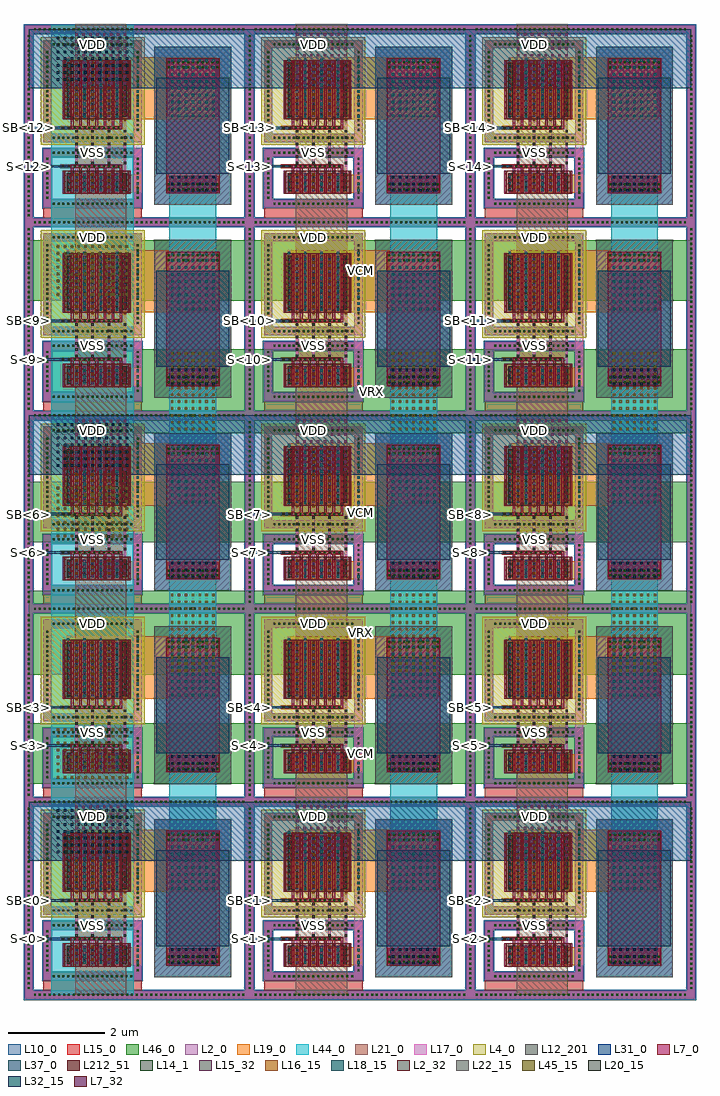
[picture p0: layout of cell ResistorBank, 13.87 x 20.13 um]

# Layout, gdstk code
import gdstk
lib = gdstk.Library(unit=1e-6, precision=1e-09)
def R(c, l, rs):  # rectangles x0, y0, x1, y1
    for r in rs: c.add(gdstk.rectangle(r[:2], r[2:], *l))
def A(c, l, x, y, w, h, nx, ny, dx, dy):  # array of equal rectangles
    R(c, l, [(x+i*dx, y+j*dy, x+i*dx+w, y+j*dy+h) for i in range(nx) for j in range(ny)])
L2_0 = (2, 0)
L2_32 = (2, 32)
L4_0 = (4, 0)
L7_0 = (7, 0)
L7_32 = (7, 32)
L10_0 = (10, 0)
L12_201 = (12, 201)
L14_1 = (14, 1)
L15_0 = (15, 0)
L15_32 = (15, 32)
L16_15 = (16, 15)
L17_0 = (17, 0)
L18_15 = (18, 15)
L19_0 = (19, 0)
L20_15 = (20, 15)
L21_0 = (21, 0)
L22_15 = (22, 15)
L31_0 = (31, 0)
L32_15 = (32, 15)
L37_0 = (37, 0)
L44_0 = (44, 0)
L45_15 = (45, 15)
L46_0 = (46, 0)
L212_51 = (212, 51)

nmosintransmissiongate = lib.new_cell('NMOSInTransmissionGate')
R(nmosintransmissiongate, L2_0, [(-0.616,-0.185,0.616,0.185)])
R(nmosintransmissiongate, L2_32, [(-0.616,-0.185,-0.531,0.185), (0.531,-0.185,0.616,0.185)])
A(nmosintransmissiongate, L7_0, -0.699, -0.242, 0.054, 0.484, 9, 1, 0.168, 0)
A(nmosintransmissiongate, L7_32, -0.531, -0.242, 0.054, 0.057, 7, 1, 0.168, 0)
A(nmosintransmissiongate, L14_1, -0.608, -0.12, 0.04, 0.04, 8, 3, 0.168, 0.1)
A(nmosintransmissiongate, L15_0, -0.613, -0.185, 0.05, 0.37, 8, 1, 0.168, 0)
A(nmosintransmissiongate, L15_32, -0.613, -0.185, 0.05, 0.37, 8, 1, 0.168, 0)
R(nmosintransmissiongate, L212_51, [(-0.672,-0.241,0.672,0.241)])

pmosintransmissiongate = lib.new_cell('PMOSInTransmissionGate')
R(pmosintransmissiongate, L2_0, [(-0.616,-0.555,0.616,0.555)])
R(pmosintransmissiongate, L2_32, [(-0.616,-0.555,-0.531,0.555), (0.531,-0.555,0.616,0.555)])
A(pmosintransmissiongate, L7_0, -0.699, -0.612, 0.054, 1.224, 9, 1, 0.168, 0)
A(pmosintransmissiongate, L7_32, -0.531, -0.612, 0.054, 0.057, 7, 1, 0.168, 0)
R(pmosintransmissiongate, L10_0, [(-0.672,-0.612,0.672,0.612)])
A(pmosintransmissiongate, L14_1, -0.608, -0.52, 0.04, 0.04, 8, 11, 0.168, 0.1)
A(pmosintransmissiongate, L15_0, -0.613, -0.555, 0.05, 1.11, 8, 1, 0.168, 0)
A(pmosintransmissiongate, L15_32, -0.613, -0.555, 0.05, 1.11, 8, 1, 0.168, 0)
R(pmosintransmissiongate, L212_51, [(-0.672,-0.611,0.672,0.611)])

viamet12met2onpmosoutput = lib.new_cell('ViaMet12Met2OnPMOSOutputInTransmissionGate')
R(viamet12met2onpmosoutput, L15_0, [(-0.025,-0.642,0.025,0.642)])
A(viamet12met2onpmosoutput, L16_15, -0.025, -0.61, 0.05, 0.05, 1, 10, 0, 0.13)
R(viamet12met2onpmosoutput, L17_0, [(-0.025,-0.642,0.025,0.642)])

viamet22met3onpmosoutput = lib.new_cell('ViaMet22Met3OnPMOSOutputInTransmissionGate')
R(viamet22met3onpmosoutput, L17_0, [(-0.025,-0.642,0.025,0.642)])
A(viamet22met3onpmosoutput, L18_15, -0.025, -0.61, 0.05, 0.05, 1, 10, 0, 0.13)
R(viamet22met3onpmosoutput, L19_0, [(-0.025,-0.642,0.025,0.642)])

viamet12met2onnmosoutput = lib.new_cell('ViaMet12Met2OnNMOSOutputInTransmissionGate')
R(viamet12met2onnmosoutput, L15_0, [(-0.025,-0.187,0.025,0.187)])
A(viamet12met2onnmosoutput, L16_15, -0.025, -0.155, 0.05, 0.05, 1, 3, 0, 0.13)
R(viamet12met2onnmosoutput, L17_0, [(-0.025,-0.187,0.025,0.187)])

viamet22met3onnmosoutput = lib.new_cell('ViaMet22Met3OnNMOSOutputInTransmissionGate')
R(viamet22met3onnmosoutput, L17_0, [(-0.025,-0.187,0.025,0.187)])
A(viamet22met3onnmosoutput, L18_15, -0.025, -0.155, 0.05, 0.05, 1, 3, 0, 0.13)
R(viamet22met3onnmosoutput, L19_0, [(-0.025,-0.187,0.025,0.187)])

viapoly2met1onpmoscontro = lib.new_cell('ViaPoly2Met1OnPMOSControlInTransmissionGate')
R(viapoly2met1onpmoscontro, L7_0, [(-0.48,-0.03,0.48,0.03)])
A(viapoly2met1onpmoscontro, L14_1, -0.47, -0.02, 0.04, 0.04, 10, 1, 0.1, 0)
R(viapoly2met1onpmoscontro, L15_0, [(-0.491,-0.041,0.491,0.041)])

viapoly2met1onnmoscontro = lib.new_cell('ViaPoly2Met1OnNMOSControlInTransmissionGate')
R(viapoly2met1onnmoscontro, L7_0, [(-0.48,-0.03,0.48,0.03)])
A(viapoly2met1onnmoscontro, L14_1, -0.47, -0.02, 0.04, 0.04, 10, 1, 0.1, 0)
R(viapoly2met1onnmoscontro, L15_0, [(-0.491,-0.041,0.491,0.041)])

transmissiongateinresist = lib.new_cell('TransmissionGateInResistorBank')
transmissiongateinresist.add(gdstk.FlexPath([(-0.504,0.444),(-0.504,0.804)], 0.054, ends="flush", simple_path=True, layer=7, datatype=0))  # L7_0
transmissiongateinresist.add(gdstk.FlexPath([(-0.336,0.444),(-0.336,0.804)], 0.054, ends="flush", simple_path=True, layer=7, datatype=0))  # L7_0
transmissiongateinresist.add(gdstk.FlexPath([(-0.168,0.444),(-0.168,0.804)], 0.054, ends="flush", simple_path=True, layer=7, datatype=0))  # L7_0
transmissiongateinresist.add(gdstk.FlexPath([(0,0.444),(0,0.804)], 0.054, ends="flush", simple_path=True, layer=7, datatype=0))  # L7_0
transmissiongateinresist.add(gdstk.FlexPath([(0.168,0.444),(0.168,0.804)], 0.054, ends="flush", simple_path=True, layer=7, datatype=0))  # L7_0
transmissiongateinresist.add(gdstk.FlexPath([(0.336,0.444),(0.336,0.804)], 0.054, ends="flush", simple_path=True, layer=7, datatype=0))  # L7_0
transmissiongateinresist.add(gdstk.FlexPath([(0.504,0.444),(0.504,0.804)], 0.054, ends="flush", simple_path=True, layer=7, datatype=0))  # L7_0
transmissiongateinresist.add(gdstk.FlexPath([(-0.504,2.352),(-0.504,1.537)], 0.054, ends="flush", simple_path=True, layer=7, datatype=0))  # L7_0
transmissiongateinresist.add(gdstk.FlexPath([(-0.336,2.352),(-0.336,1.537)], 0.054, ends="flush", simple_path=True, layer=7, datatype=0))  # L7_0
transmissiongateinresist.add(gdstk.FlexPath([(-0.168,2.352),(-0.168,1.537)], 0.054, ends="flush", simple_path=True, layer=7, datatype=0))  # L7_0
transmissiongateinresist.add(gdstk.FlexPath([(0,2.352),(0,1.537)], 0.054, ends="flush", simple_path=True, layer=7, datatype=0))  # L7_0
transmissiongateinresist.add(gdstk.FlexPath([(0.168,2.352),(0.168,1.537)], 0.054, ends="flush", simple_path=True, layer=7, datatype=0))  # L7_0
transmissiongateinresist.add(gdstk.FlexPath([(0.336,2.352),(0.336,1.537)], 0.054, ends="flush", simple_path=True, layer=7, datatype=0))  # L7_0
transmissiongateinresist.add(gdstk.FlexPath([(0.504,2.352),(0.504,1.537)], 0.054, ends="flush", simple_path=True, layer=7, datatype=0))  # L7_0
transmissiongateinresist.add(gdstk.FlexPath([(-0.504,0.774),(0.504,0.774)], 0.06, ends="flush", simple_path=True, layer=7, datatype=0))  # L7_0
transmissiongateinresist.add(gdstk.FlexPath([(-0.504,1.567),(0.504,1.567)], 0.06, ends="flush", simple_path=True, layer=7, datatype=0))  # L7_0
transmissiongateinresist.add(gdstk.Reference(nmosintransmissiongate, (0,0.444), x_reflection=True))
transmissiongateinresist.add(gdstk.Reference(pmosintransmissiongate, (0,2.352)))
transmissiongateinresist.add(gdstk.Reference(viamet12met2onpmosoutput, (-0.42,2.32)))
transmissiongateinresist.add(gdstk.Reference(viamet12met2onpmosoutput, (-0.084,2.32)))
transmissiongateinresist.add(gdstk.Reference(viamet12met2onpmosoutput, (0.252,2.32)))
transmissiongateinresist.add(gdstk.Reference(viamet12met2onpmosoutput, (0.588,2.32)))
transmissiongateinresist.add(gdstk.Reference(viamet12met2onpmosoutput, (-0.588,2.384)))
transmissiongateinresist.add(gdstk.Reference(viamet12met2onpmosoutput, (-0.252,2.384)))
transmissiongateinresist.add(gdstk.Reference(viamet12met2onpmosoutput, (0.084,2.384)))
transmissiongateinresist.add(gdstk.Reference(viamet12met2onpmosoutput, (0.42,2.384)))
transmissiongateinresist.add(gdstk.Reference(viamet22met3onpmosoutput, (-0.588,2.384)))
transmissiongateinresist.add(gdstk.Reference(viamet22met3onpmosoutput, (-0.252,2.384)))
transmissiongateinresist.add(gdstk.Reference(viamet22met3onpmosoutput, (0.084,2.384)))
transmissiongateinresist.add(gdstk.Reference(viamet22met3onpmosoutput, (0.42,2.384)))
transmissiongateinresist.add(gdstk.Reference(viamet12met2onnmosoutput, (-0.42,0.476)))
transmissiongateinresist.add(gdstk.Reference(viamet12met2onnmosoutput, (-0.084,0.476)))
transmissiongateinresist.add(gdstk.Reference(viamet12met2onnmosoutput, (0.252,0.476)))
transmissiongateinresist.add(gdstk.Reference(viamet12met2onnmosoutput, (0.588,0.476)))
transmissiongateinresist.add(gdstk.Reference(viamet12met2onnmosoutput, (-0.588,0.412)))
transmissiongateinresist.add(gdstk.Reference(viamet12met2onnmosoutput, (-0.252,0.412)))
transmissiongateinresist.add(gdstk.Reference(viamet12met2onnmosoutput, (0.084,0.412)))
transmissiongateinresist.add(gdstk.Reference(viamet12met2onnmosoutput, (0.42,0.412)))
transmissiongateinresist.add(gdstk.Reference(viamet22met3onnmosoutput, (-0.588,0.412)))
transmissiongateinresist.add(gdstk.Reference(viamet22met3onnmosoutput, (-0.252,0.412)))
transmissiongateinresist.add(gdstk.Reference(viamet22met3onnmosoutput, (0.084,0.412)))
transmissiongateinresist.add(gdstk.Reference(viamet22met3onnmosoutput, (0.42,0.412)))
transmissiongateinresist.add(gdstk.Reference(viapoly2met1onpmoscontro, (0,1.567)))
transmissiongateinresist.add(gdstk.Reference(viapoly2met1onnmoscontro, (0,0.774)))

viamet12met2oninputinres = lib.new_cell('ViaMet12Met2OnInputInResistorBank')
R(viamet12met2oninputinres, L15_0, [(-0.122,-0.025,0.122,0.025)])
R(viamet12met2oninputinres, L16_15, [(-0.09,-0.025,-0.04,0.025), (0.04,-0.025,0.09,0.025)])
R(viamet12met2oninputinres, L17_0, [(-0.122,-0.025,0.122,0.025)])

viamet22met3oninputinres = lib.new_cell('ViaMet22Met3OnInputInResistorBank')
R(viamet22met3oninputinres, L17_0, [(-0.122,-0.025,0.122,0.025)])
R(viamet22met3oninputinres, L18_15, [(-0.09,-0.025,-0.04,0.025), (0.04,-0.025,0.09,0.025)])
R(viamet22met3oninputinres, L19_0, [(-0.122,-0.025,0.122,0.025)])

viamet32met4oninputinres = lib.new_cell('ViaMet32Met4OnInputInResistorBank')
R(viamet32met4oninputinres, L19_0, [(-0.122,-0.025,0.122,0.025)])
R(viamet32met4oninputinres, L20_15, [(-0.09,-0.025,-0.04,0.025), (0.04,-0.025,0.09,0.025)])
R(viamet32met4oninputinres, L21_0, [(-0.122,-0.025,0.122,0.025)])

viamet42met5oninputinres = lib.new_cell('ViaMet42Met5OnInputInResistorBank')
R(viamet42met5oninputinres, L21_0, [(-0.122,-0.025,0.122,0.025)])
R(viamet42met5oninputinres, L22_15, [(-0.09,-0.025,-0.04,0.025), (0.04,-0.025,0.09,0.025)])
R(viamet42met5oninputinres, L31_0, [(-0.122,-0.025,0.122,0.025)])

opppcresinresistorbank = lib.new_cell('OpppcresInResistorBank')
R(opppcresinresistorbank, L7_0, [(-0.553,-1.388,0.553,1.388)])
R(opppcresinresistorbank, L10_0, [(-0.793,-1.628,0.793,1.628)])
R(opppcresinresistorbank, L12_201, [(-0.793,-1.628,0.793,1.628)])
A(opppcresinresistorbank, L14_1, -0.52, -1.328, 0.04, 0.04, 11, 2, 0.1, 0.1)
A(opppcresinresistorbank, L14_1, -0.52, 1.188, 0.04, 0.04, 11, 2, 0.1, 0.1)
R(opppcresinresistorbank, L15_0, [(-0.532,-1.34,0.532,-1.176), (-0.532,1.176,0.532,1.34)])
R(opppcresinresistorbank, L37_0, [(-0.753,-0.988,0.753,0.988)])

pmossubringinresistorban = lib.new_cell('PMOSSubringInResistorBank')
R(pmossubringinresistorban, L2_0, [(-1.017,-1.052,1.017,-0.882), (-1.017,-1.052,-0.847,1.052), (0.847,-1.052,1.017,1.052), (-1.017,0.882,1.017,1.052)])
A(pmossubringinresistorban, L14_1, -0.82, -0.987, 0.04, 0.04, 17, 2, 0.1, 1.934)
A(pmossubringinresistorban, L14_1, -0.952, -0.82, 0.04, 0.04, 1, 17, 0, 0.1)
A(pmossubringinresistorban, L14_1, 0.912, -0.82, 0.04, 0.04, 1, 17, 0, 0.1)
R(pmossubringinresistorban, L15_0, [(-1.017,-1.052,1.017,-0.882), (-1.017,-1.052,-0.847,1.052), (0.847,-1.052,1.017,1.052), (-1.017,0.882,1.017,1.052)])
pmossubringinresistorban.add(gdstk.FlexPath([(0.932,1.108),(0.932,-0.967),(-0.932,-0.967),(-0.932,0.967),(1.073,0.967)], 0.282, ends="flush", simple_path=True, layer=4, datatype=0))  # L4_0

nmossubringinresistorban = lib.new_cell('NMOSSubringInResistorBank')
R(nmossubringinresistorban, L2_0, [(-1.017,-0.611,1.017,-0.441), (-1.017,-0.611,-0.847,0.611), (0.847,-0.611,1.017,0.611), (-1.017,0.441,1.017,0.611)])
A(nmossubringinresistorban, L14_1, -0.82, -0.546, 0.04, 0.04, 17, 2, 0.1, 1.052)
A(nmossubringinresistorban, L14_1, -0.952, -0.42, 0.04, 0.04, 1, 9, 0, 0.1)
A(nmossubringinresistorban, L14_1, 0.912, -0.42, 0.04, 0.04, 1, 9, 0, 0.1)
R(nmossubringinresistorban, L15_0, [(-1.017,-0.611,1.017,-0.441), (-1.017,-0.611,-0.847,0.611), (0.847,-0.611,1.017,0.611), (-1.017,0.441,1.017,0.611)])
nmossubringinresistorban.add(gdstk.FlexPath([(0.932,0.632),(0.932,-0.526),(-0.932,-0.526),(-0.932,0.526),(1.038,0.526)], 0.212, ends="flush", simple_path=True, layer=10, datatype=0))  # L10_0

totalsubringinresistorba = lib.new_cell('TotalSubringInResistorBank')
R(totalsubringinresistorba, L2_0, [(-2.362,-2.077,2.362,-1.907), (-2.362,-2.077,-2.192,2.077), (2.192,-2.077,2.362,2.077), (-2.362,1.907,2.362,2.077)])
A(totalsubringinresistorba, L14_1, -2.17, -2.012, 0.04, 0.04, 44, 2, 0.1, 3.984)
A(totalsubringinresistorba, L14_1, -2.297, -1.87, 0.04, 0.04, 1, 38, 0, 0.1)
A(totalsubringinresistorba, L14_1, 2.257, -1.87, 0.04, 0.04, 1, 38, 0, 0.1)
R(totalsubringinresistorba, L15_0, [(-2.362,-2.077,2.362,-1.907), (-2.362,-2.077,-2.192,2.077), (2.192,-2.077,2.362,2.077), (-2.362,1.907,2.362,2.077)])
totalsubringinresistorba.add(gdstk.FlexPath([(2.277,2.098),(2.277,-1.992),(-2.277,-1.992),(-2.277,1.992),(2.383,1.992)], 0.212, ends="flush", simple_path=True, layer=10, datatype=0))  # L10_0

viamet12met2onresistorin = lib.new_cell('ViaMet12Met2OnResistorInResistorBank')
R(viamet12met2onresistorin, L15_0, [(-0.483,-0.593,0.483,0.593)])
A(viamet12met2onresistorin, L16_15, -0.451, -0.593, 0.05, 0.05, 7, 9, 0.142, 0.142)
R(viamet12met2onresistorin, L17_0, [(-0.483,-0.593,0.483,0.593)])

viamet12met2onresistor1i = lib.new_cell('ViaMet12Met2OnResistor1InResistorBank')
R(viamet12met2onresistor1i, L15_0, [(-0.483,-0.167,0.483,0.167)])
A(viamet12met2onresistor1i, L16_15, -0.451, -0.167, 0.05, 0.05, 7, 3, 0.142, 0.142)
R(viamet12met2onresistor1i, L17_0, [(-0.483,-0.167,0.483,0.167)])

viamet22met3onresistorin = lib.new_cell('ViaMet22Met3OnResistorInResistorBank')
R(viamet22met3onresistorin, L17_0, [(-0.483,-0.593,0.483,0.593)])
A(viamet22met3onresistorin, L18_15, -0.451, -0.593, 0.05, 0.05, 7, 9, 0.142, 0.142)
R(viamet22met3onresistorin, L19_0, [(-0.483,-0.593,0.483,0.593)])

viamet22met3onresistor1i = lib.new_cell('ViaMet22Met3OnResistor1InResistorBank')
R(viamet22met3onresistor1i, L17_0, [(-0.483,-0.167,0.483,0.167)])
A(viamet22met3onresistor1i, L18_15, -0.451, -0.167, 0.05, 0.05, 7, 3, 0.142, 0.142)
R(viamet22met3onresistor1i, L19_0, [(-0.483,-0.167,0.483,0.167)])

viamet32met4onresistorin = lib.new_cell('ViaMet32Met4OnResistorInResistorBank')
R(viamet32met4onresistorin, L19_0, [(-0.483,-0.167,0.483,0.167)])
A(viamet32met4onresistorin, L20_15, -0.451, -0.167, 0.05, 0.05, 7, 3, 0.142, 0.142)
R(viamet32met4onresistorin, L21_0, [(-0.483,-0.167,0.483,0.167)])

viamet42met5onresistorin = lib.new_cell('ViaMet42Met5OnResistorInResistorBank')
R(viamet42met5onresistorin, L21_0, [(-0.483,-0.167,0.483,0.167)])
A(viamet42met5onresistorin, L22_15, -0.451, -0.167, 0.05, 0.05, 7, 3, 0.142, 0.142)
R(viamet42met5onresistorin, L31_0, [(-0.483,-0.167,0.483,0.167)])

viamet52met6onresistorin = lib.new_cell('ViaMet52Met6OnResistorInResistorBank')
R(viamet52met6onresistorin, L31_0, [(-0.483,-0.167,0.483,0.167)])
A(viamet52met6onresistorin, L32_15, -0.451, -0.167, 0.05, 0.05, 7, 3, 0.142, 0.142)
R(viamet52met6onresistorin, L44_0, [(-0.483,-0.167,0.483,0.167)])

viavcmmet22met3inresisto = lib.new_cell('ViaVCMMet22Met3InResistorBank')
R(viavcmmet22met3inresisto, L17_0, [(-0.025,-0.382,0.025,0.382)])
A(viavcmmet22met3inresisto, L18_15, -0.025, -0.35, 0.05, 0.05, 1, 6, 0, 0.13)
R(viavcmmet22met3inresisto, L19_0, [(-0.025,-0.382,0.025,0.382)])

viavcmmet32met4inresisto = lib.new_cell('ViaVCMMet32Met4InResistorBank')
R(viavcmmet32met4inresisto, L19_0, [(-0.025,-0.382,0.025,0.382)])
A(viavcmmet32met4inresisto, L20_15, -0.025, -0.35, 0.05, 0.05, 1, 6, 0, 0.13)
R(viavcmmet32met4inresisto, L21_0, [(-0.025,-0.382,0.025,0.382)])

viatgpmos2resmet22met3in = lib.new_cell('ViaTGPMOS2ResMet22Met3InResistorBank')
R(viatgpmos2resmet22met3in, L17_0, [(-0.057,-0.61,0.057,0.61)])
A(viatgpmos2resmet22met3in, L18_15, -0.025, -0.61, 0.05, 0.05, 1, 10, 0, 0.13)
R(viatgpmos2resmet22met3in, L19_0, [(-0.057,-0.61,0.057,0.61)])

viatgnmos2resmet22met3in = lib.new_cell('ViaTGNMOS2ResMet22Met3InResistorBank')
R(viatgnmos2resmet22met3in, L17_0, [(-0.057,-0.155,0.057,0.155)])
A(viatgnmos2resmet22met3in, L18_15, -0.025, -0.155, 0.05, 0.05, 1, 3, 0, 0.13)
R(viatgnmos2resmet22met3in, L19_0, [(-0.057,-0.155,0.057,0.155)])

resistorbankinfullresist = lib.new_cell('ResistorBankInFullResistorBank')
R(resistorbankinfullresist, L15_0, [(-1.103,-0.467,0.931,0.085)])
A(resistorbankinfullresist, L17_0, -0.445, 0.289, 0.05, 2.674, 4, 1, 0.336, 0)
R(resistorbankinfullresist, L21_0, [(-0.42,0.788,0.588,1.552)])
resistorbankinfullresist.add(gdstk.FlexPath([(-0.633,1.567),(-1.4,1.567)], 0.05, ends="flush", simple_path=True, layer=31, datatype=0))  # L31_0
resistorbankinfullresist.add(gdstk.FlexPath([(-0.633,0.774),(-1.4,0.774)], 0.05, ends="flush", simple_path=True, layer=31, datatype=0))  # L31_0
resistorbankinfullresist.add(gdstk.FlexPath([(-0.933,2.325),(0.761,2.325)], 1.764, ends="flush", simple_path=True, layer=4, datatype=0))  # L4_0
resistorbankinfullresist.add(gdstk.FlexPath([(-0.755,1.567),(0,1.567)], 0.082, ends="flush", simple_path=True, layer=15, datatype=0))  # L15_0
resistorbankinfullresist.add(gdstk.FlexPath([(-0.755,0.774),(0,0.774)], 0.082, ends="flush", simple_path=True, layer=15, datatype=0))  # L15_0
resistorbankinfullresist.add(gdstk.FlexPath([(1.984,1.791),(1.984,2.977)], 1.064, ends="flush", simple_path=True, layer=15, datatype=0))  # L15_0
resistorbankinfullresist.add(gdstk.FlexPath([(1.984,0.579),(1.984,0.245)], 1.064, ends="flush", simple_path=True, layer=15, datatype=0))  # L15_0
resistorbankinfullresist.add(gdstk.FlexPath([(-0.588,2.384),(2.467,2.384)], 1.284, ends="flush", simple_path=True, layer=19, datatype=0))  # L19_0
resistorbankinfullresist.add(gdstk.FlexPath([(-0.588,0.412),(0.931,0.412)], 0.374, ends="flush", simple_path=True, layer=19, datatype=0))  # L19_0
resistorbankinfullresist.add(gdstk.FlexPath([(0.846,3.026),(0.846,0.225)], 0.17, ends="flush", simple_path=True, layer=17, datatype=0))  # L17_0
resistorbankinfullresist.add(gdstk.Reference(transmissiongateinresist, (0,0)))
resistorbankinfullresist.add(gdstk.Reference(viamet12met2oninputinres, (-0.633,1.567)))
resistorbankinfullresist.add(gdstk.Reference(viamet12met2oninputinres, (-0.633,0.774)))
resistorbankinfullresist.add(gdstk.Reference(viamet22met3oninputinres, (-0.633,1.567)))
resistorbankinfullresist.add(gdstk.Reference(viamet22met3oninputinres, (-0.633,0.774)))
resistorbankinfullresist.add(gdstk.Reference(viamet32met4oninputinres, (-0.633,1.567)))
resistorbankinfullresist.add(gdstk.Reference(viamet32met4oninputinres, (-0.633,0.774)))
resistorbankinfullresist.add(gdstk.Reference(viamet42met5oninputinres, (-0.633,1.567)))
resistorbankinfullresist.add(gdstk.Reference(viamet42met5oninputinres, (-0.633,0.774)))
resistorbankinfullresist.add(gdstk.Reference(opppcresinresistorbank, (1.984,1.61)))
resistorbankinfullresist.add(gdstk.Reference(pmossubringinresistorban, (-0.086,2.325)))
resistorbankinfullresist.add(gdstk.Reference(nmossubringinresistorban, (-0.086,0.526)))
resistorbankinfullresist.add(gdstk.Reference(totalsubringinresistorba, (0.877,1.61)))
resistorbankinfullresist.add(gdstk.Reference(viamet12met2onresistorin, (1.984,2.384)))
resistorbankinfullresist.add(gdstk.Reference(viamet12met2onresistor1i, (1.984,0.412)))
resistorbankinfullresist.add(gdstk.Reference(viamet22met3onresistorin, (1.984,2.384)))
resistorbankinfullresist.add(gdstk.Reference(viamet22met3onresistor1i, (1.984,0.412)))
resistorbankinfullresist.add(gdstk.Reference(viamet32met4onresistorin, (1.984,0.412)))
resistorbankinfullresist.add(gdstk.Reference(viamet42met5onresistorin, (1.984,0.412)))
resistorbankinfullresist.add(gdstk.Reference(viamet52met6onresistorin, (1.984,0.412)))
resistorbankinfullresist.add(gdstk.Reference(viavcmmet22met3inresisto, (-0.42,1.17)))
resistorbankinfullresist.add(gdstk.Reference(viavcmmet22met3inresisto, (-0.084,1.17)))
resistorbankinfullresist.add(gdstk.Reference(viavcmmet22met3inresisto, (0.252,1.17)))
resistorbankinfullresist.add(gdstk.Reference(viavcmmet22met3inresisto, (0.588,1.17)))
resistorbankinfullresist.add(gdstk.Reference(viavcmmet32met4inresisto, (-0.42,1.17)))
resistorbankinfullresist.add(gdstk.Reference(viavcmmet32met4inresisto, (-0.084,1.17)))
resistorbankinfullresist.add(gdstk.Reference(viavcmmet32met4inresisto, (0.252,1.17)))
resistorbankinfullresist.add(gdstk.Reference(viavcmmet32met4inresisto, (0.588,1.17)))
resistorbankinfullresist.add(gdstk.Reference(viatgpmos2resmet22met3in, (0.846,2.384)))
resistorbankinfullresist.add(gdstk.Reference(viatgnmos2resmet22met3in, (0.846,0.412)))
resistorbankinfullresist.add(gdstk.Label('VDD', (-0.086,3.292), layer=15, texttype=20))
resistorbankinfullresist.add(gdstk.Label('VSS', (-0.086,-0.191), layer=15, texttype=20))
resistorbankinfullresist.add(gdstk.Label('S', (-1.4,0.774), layer=31, texttype=20))
resistorbankinfullresist.add(gdstk.Label('SB', (-1.4,1.567), layer=31, texttype=20))
resistorbankinfullresist.add(gdstk.Label('VRX', (1.984,0.412), layer=44, texttype=20))
resistorbankinfullresist.add(gdstk.Label('VCM', (0.084,1.17), layer=21, texttype=20))

viamet42met5onvcminfullr = lib.new_cell('ViaMet42Met5OnVCMInFullResistorBank')
R(viamet42met5onvcminfullr, L21_0, [(-0.522,-0.554,0.522,0.554)])
A(viamet42met5onvcminfullr, L22_15, -0.522, -0.522, 0.05, 0.05, 8, 8, 0.142, 0.142)
R(viamet42met5onvcminfullr, L31_0, [(-0.522,-0.554,0.522,0.554)])

viamet52met6onvcminfullr = lib.new_cell('ViaMet52Met6OnVCMInFullResistorBank')
R(viamet52met6onvcminfullr, L31_0, [(-0.735,-0.483,0.735,0.483)])
A(viamet52met6onvcminfullr, L32_15, -0.735, -0.451, 0.05, 0.05, 11, 7, 0.142, 0.142)
R(viamet52met6onvcminfullr, L44_0, [(-0.735,-0.483,0.735,0.483)])

viamet62met7onvrxinfullr = lib.new_cell('ViaMet62Met7OnVRXInFullResistorBank')
R(viamet62met7onvrxinfullr, L44_0, [(-0.451,-0.838,0.451,0.838)])
A(viamet62met7onvrxinfullr, L45_15, -0.451, -0.806, 0.05, 0.05, 7, 12, 0.142, 0.142)
R(viamet62met7onvrxinfullr, L46_0, [(-0.451,-0.838,0.451,0.838)])

viamet62met7onvcminfullr = lib.new_cell('ViaMet62Met7OnVCMInFullResistorBank')
R(viamet62met7onvcminfullr, L44_0, [(-0.767,-0.522,0.767,0.522)])
A(viamet62met7onvcminfullr, L45_15, -0.735, -0.522, 0.05, 0.05, 11, 8, 0.142, 0.142)
R(viamet62met7onvcminfullr, L46_0, [(-0.767,-0.522,0.767,0.522)])

resistorbank = lib.new_cell('ResistorBank')
resistorbank.add(gdstk.FlexPath([(0.084,-0.382),(0.084,19.624)], 1.058, ends="flush", simple_path=True, layer=21, datatype=0))  # L21_0
resistorbank.add(gdstk.FlexPath([(4.638,-0.382),(4.638,19.624)], 1.058, ends="flush", simple_path=True, layer=21, datatype=0))  # L21_0
resistorbank.add(gdstk.FlexPath([(9.192,-0.382),(9.192,19.624)], 1.058, ends="flush", simple_path=True, layer=21, datatype=0))  # L21_0
resistorbank.add(gdstk.FlexPath([(-1.4,2.992),(12.262,2.992)], 1.218, ends="flush", simple_path=True, layer=31, datatype=0))  # L31_0
resistorbank.add(gdstk.FlexPath([(-1.4,10.96),(12.262,10.96)], 1.218, ends="flush", simple_path=True, layer=31, datatype=0))  # L31_0
resistorbank.add(gdstk.FlexPath([(-1.4,18.928),(12.262,18.928)], 1.218, ends="flush", simple_path=True, layer=31, datatype=0))  # L31_0
resistorbank.add(gdstk.FlexPath([(-0.086,-0.382),(-0.086,19.624)], 1.694, ends="flush", simple_path=True, layer=44, datatype=0))  # L44_0
resistorbank.add(gdstk.FlexPath([(1.984,0.412),(1.984,16.348)], 0.966, ends="flush", simple_path=True, layer=44, datatype=0))  # L44_0
resistorbank.add(gdstk.FlexPath([(6.538,0.412),(6.538,16.348)], 0.966, ends="flush", simple_path=True, layer=44, datatype=0))  # L44_0
resistorbank.add(gdstk.FlexPath([(11.092,0.412),(11.092,16.348)], 0.966, ends="flush", simple_path=True, layer=44, datatype=0))  # L44_0
resistorbank.add(gdstk.FlexPath([(-1.4,4.598),(12.262,4.598)], 1.25, ends="flush", simple_path=True, layer=46, datatype=0))  # L46_0
resistorbank.add(gdstk.FlexPath([(-1.4,9.578),(12.262,9.578)], 1.25, ends="flush", simple_path=True, layer=46, datatype=0))  # L46_0
resistorbank.add(gdstk.FlexPath([(-1.4,14.558),(12.262,14.558)], 1.25, ends="flush", simple_path=True, layer=46, datatype=0))  # L46_0
resistorbank.add(gdstk.FlexPath([(-1.4,7.088),(12.262,7.088)], 1.73, ends="flush", simple_path=True, layer=46, datatype=0))  # L46_0
resistorbank.add(gdstk.FlexPath([(-0.933,12.068),(12.262,12.068)], 1.73, ends="flush", simple_path=True, layer=46, datatype=0))  # L46_0
resistorbank.add(gdstk.Reference(resistorbankinfullresist, (0,0)))
resistorbank.add(gdstk.Reference(resistorbankinfullresist, (0,3.984)))
resistorbank.add(gdstk.Reference(resistorbankinfullresist, (0,7.968)))
resistorbank.add(gdstk.Reference(resistorbankinfullresist, (0,11.952)))
resistorbank.add(gdstk.Reference(resistorbankinfullresist, (0,15.936)))
resistorbank.add(gdstk.Reference(resistorbankinfullresist, (4.554,0)))
resistorbank.add(gdstk.Reference(resistorbankinfullresist, (4.554,3.984)))
resistorbank.add(gdstk.Reference(resistorbankinfullresist, (4.554,7.968)))
resistorbank.add(gdstk.Reference(resistorbankinfullresist, (4.554,11.952)))
resistorbank.add(gdstk.Reference(resistorbankinfullresist, (4.554,15.936)))
resistorbank.add(gdstk.Reference(resistorbankinfullresist, (9.108,0)))
resistorbank.add(gdstk.Reference(resistorbankinfullresist, (9.108,3.984)))
resistorbank.add(gdstk.Reference(resistorbankinfullresist, (9.108,7.968)))
resistorbank.add(gdstk.Reference(resistorbankinfullresist, (9.108,11.952)))
resistorbank.add(gdstk.Reference(resistorbankinfullresist, (9.108,15.936)))
resistorbank.add(gdstk.Reference(viamet42met5onvcminfullr, (0.084,2.992)))
resistorbank.add(gdstk.Reference(viamet42met5onvcminfullr, (0.084,10.96)))
resistorbank.add(gdstk.Reference(viamet42met5onvcminfullr, (0.084,18.928)))
resistorbank.add(gdstk.Reference(viamet42met5onvcminfullr, (4.638,2.992)))
resistorbank.add(gdstk.Reference(viamet42met5onvcminfullr, (4.638,10.96)))
resistorbank.add(gdstk.Reference(viamet42met5onvcminfullr, (4.638,18.928)))
resistorbank.add(gdstk.Reference(viamet42met5onvcminfullr, (9.192,2.992)))
resistorbank.add(gdstk.Reference(viamet42met5onvcminfullr, (9.192,10.96)))
resistorbank.add(gdstk.Reference(viamet42met5onvcminfullr, (9.192,18.928)))
resistorbank.add(gdstk.Reference(viamet52met6onvcminfullr, (-0.086,2.992)))
resistorbank.add(gdstk.Reference(viamet52met6onvcminfullr, (-0.086,10.96)))
resistorbank.add(gdstk.Reference(viamet52met6onvcminfullr, (-0.086,18.928)))
resistorbank.add(gdstk.Reference(viamet62met7onvrxinfullr, (1.984,7.088)))
resistorbank.add(gdstk.Reference(viamet62met7onvrxinfullr, (1.984,12.068)))
resistorbank.add(gdstk.Reference(viamet62met7onvrxinfullr, (6.538,7.088)))
resistorbank.add(gdstk.Reference(viamet62met7onvrxinfullr, (6.538,12.068)))
resistorbank.add(gdstk.Reference(viamet62met7onvrxinfullr, (11.092,7.088)))
resistorbank.add(gdstk.Reference(viamet62met7onvrxinfullr, (11.092,12.068)))
resistorbank.add(gdstk.Reference(viamet62met7onvcminfullr, (-0.086,4.598)))
resistorbank.add(gdstk.Reference(viamet62met7onvcminfullr, (-0.086,9.578)))
resistorbank.add(gdstk.Reference(viamet62met7onvcminfullr, (-0.086,14.558)))
resistorbank.add(gdstk.Label('S<0>', (-1.4,0.774), layer=31, texttype=20))
resistorbank.add(gdstk.Label('SB<0>', (-1.4,1.567), layer=31, texttype=20))
resistorbank.add(gdstk.Label('S<3>', (-1.4,4.758), layer=31, texttype=20))
resistorbank.add(gdstk.Label('SB<3>', (-1.4,5.551), layer=31, texttype=20))
resistorbank.add(gdstk.Label('S<6>', (-1.4,8.742), layer=31, texttype=20))
resistorbank.add(gdstk.Label('SB<6>', (-1.4,9.535), layer=31, texttype=20))
resistorbank.add(gdstk.Label('S<9>', (-1.4,12.726), layer=31, texttype=20))
resistorbank.add(gdstk.Label('SB<9>', (-1.4,13.519), layer=31, texttype=20))
resistorbank.add(gdstk.Label('S<12>', (-1.4,16.71), layer=31, texttype=20))
resistorbank.add(gdstk.Label('SB<12>', (-1.4,17.503), layer=31, texttype=20))
resistorbank.add(gdstk.Label('S<1>', (3.154,0.774), layer=31, texttype=20))
resistorbank.add(gdstk.Label('SB<1>', (3.154,1.567), layer=31, texttype=20))
resistorbank.add(gdstk.Label('S<4>', (3.154,4.758), layer=31, texttype=20))
resistorbank.add(gdstk.Label('SB<4>', (3.154,5.551), layer=31, texttype=20))
resistorbank.add(gdstk.Label('S<7>', (3.154,8.742), layer=31, texttype=20))
resistorbank.add(gdstk.Label('SB<7>', (3.154,9.535), layer=31, texttype=20))
resistorbank.add(gdstk.Label('S<10>', (3.154,12.726), layer=31, texttype=20))
resistorbank.add(gdstk.Label('SB<10>', (3.154,13.519), layer=31, texttype=20))
resistorbank.add(gdstk.Label('S<13>', (3.154,16.71), layer=31, texttype=20))
resistorbank.add(gdstk.Label('SB<13>', (3.154,17.503), layer=31, texttype=20))
resistorbank.add(gdstk.Label('S<2>', (7.708,0.774), layer=31, texttype=20))
resistorbank.add(gdstk.Label('SB<2>', (7.708,1.567), layer=31, texttype=20))
resistorbank.add(gdstk.Label('S<5>', (7.708,4.758), layer=31, texttype=20))
resistorbank.add(gdstk.Label('SB<5>', (7.708,5.551), layer=31, texttype=20))
resistorbank.add(gdstk.Label('S<8>', (7.708,8.742), layer=31, texttype=20))
resistorbank.add(gdstk.Label('SB<8>', (7.708,9.535), layer=31, texttype=20))
resistorbank.add(gdstk.Label('S<11>', (7.708,12.726), layer=31, texttype=20))
resistorbank.add(gdstk.Label('SB<11>', (7.708,13.519), layer=31, texttype=20))
resistorbank.add(gdstk.Label('S<14>', (7.708,16.71), layer=31, texttype=20))
resistorbank.add(gdstk.Label('SB<14>', (7.708,17.503), layer=31, texttype=20))
resistorbank.add(gdstk.Label('VRX', (5.431,7.088), layer=46, texttype=20))
resistorbank.add(gdstk.Label('VRX', (5.664,12.068), layer=46, texttype=20))
resistorbank.add(gdstk.Label('VDD', (-0.086,3.292), layer=15, texttype=20))
resistorbank.add(gdstk.Label('VDD', (-0.086,7.276), layer=15, texttype=20))
resistorbank.add(gdstk.Label('VDD', (-0.086,11.26), layer=15, texttype=20))
resistorbank.add(gdstk.Label('VDD', (-0.086,15.244), layer=15, texttype=20))
resistorbank.add(gdstk.Label('VDD', (-0.086,19.228), layer=15, texttype=20))
resistorbank.add(gdstk.Label('VDD', (4.468,3.292), layer=15, texttype=20))
resistorbank.add(gdstk.Label('VDD', (4.468,7.276), layer=15, texttype=20))
resistorbank.add(gdstk.Label('VDD', (4.468,11.26), layer=15, texttype=20))
resistorbank.add(gdstk.Label('VDD', (4.468,15.244), layer=15, texttype=20))
resistorbank.add(gdstk.Label('VDD', (4.468,19.228), layer=15, texttype=20))
resistorbank.add(gdstk.Label('VDD', (9.022,3.292), layer=15, texttype=20))
resistorbank.add(gdstk.Label('VDD', (9.022,7.276), layer=15, texttype=20))
resistorbank.add(gdstk.Label('VDD', (9.022,11.26), layer=15, texttype=20))
resistorbank.add(gdstk.Label('VDD', (9.022,15.244), layer=15, texttype=20))
resistorbank.add(gdstk.Label('VDD', (9.022,19.228), layer=15, texttype=20))
resistorbank.add(gdstk.Label('VSS', (-0.086,1.052), layer=15, texttype=20))
resistorbank.add(gdstk.Label('VSS', (-0.086,5.036), layer=15, texttype=20))
resistorbank.add(gdstk.Label('VSS', (-0.086,9.02), layer=15, texttype=20))
resistorbank.add(gdstk.Label('VSS', (-0.086,13.004), layer=15, texttype=20))
resistorbank.add(gdstk.Label('VSS', (-0.086,16.988), layer=15, texttype=20))
resistorbank.add(gdstk.Label('VSS', (4.468,1.052), layer=15, texttype=20))
resistorbank.add(gdstk.Label('VSS', (4.468,5.036), layer=15, texttype=20))
resistorbank.add(gdstk.Label('VSS', (4.468,9.02), layer=15, texttype=20))
resistorbank.add(gdstk.Label('VSS', (4.468,13.004), layer=15, texttype=20))
resistorbank.add(gdstk.Label('VSS', (4.468,16.988), layer=15, texttype=20))
resistorbank.add(gdstk.Label('VSS', (9.022,1.052), layer=15, texttype=20))
resistorbank.add(gdstk.Label('VSS', (9.022,5.036), layer=15, texttype=20))
resistorbank.add(gdstk.Label('VSS', (9.022,9.02), layer=15, texttype=20))
resistorbank.add(gdstk.Label('VSS', (9.022,13.004), layer=15, texttype=20))
resistorbank.add(gdstk.Label('VSS', (9.022,16.988), layer=15, texttype=20))
resistorbank.add(gdstk.Label('VCM', (5.431,4.598), layer=46, texttype=20))
resistorbank.add(gdstk.Label('VCM', (5.431,9.578), layer=46, texttype=20))
resistorbank.add(gdstk.Label('VCM', (5.431,14.558), layer=46, texttype=20))

lib.write_gds('ResistorBank.gds')
